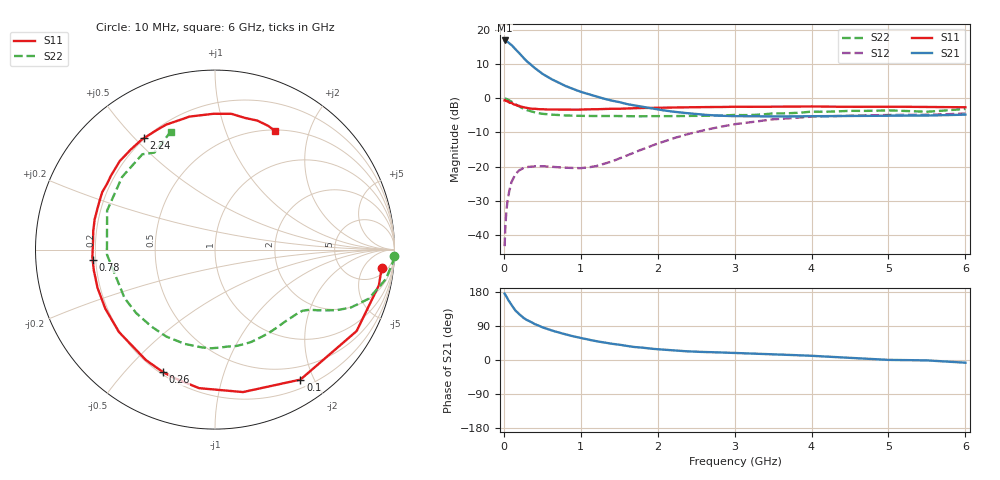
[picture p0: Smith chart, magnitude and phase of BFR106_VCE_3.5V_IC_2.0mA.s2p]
! Infineon Technologies  Discrete & RF Semiconductors
! BFR106
! VCE =  3.5 V,  IC =  2.0 mA
! Common Emitter S-Parameters:  Nov 2015
# GHz  S  MA  R  50
!  f  S11  S21  S12  S22
! GHz  MAG  ANG  MAG  ANG  MAG  ANG  MAG  ANG
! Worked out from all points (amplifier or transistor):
!   210 points, 10 MHz to 6 GHz, reference 50 ohm
!   highest |S21| = 17.0 dB at 10 MHz (marker M1)
!   |S21| within 3 dB of that: start of sweep to 169.7 MHz
!   unconditionally stable (mu >= 1): 781.5 MHz to 1.956 GHz; 3.644 GHz to end of sweep
!   at 185 MHz: K = 0.24, MSG = 17.5 dB, |S12| = -21.5 dB
!   at 1.52 GHz: K = 1.22, MAG = 5.3 dB, |S12| = -17.5 dB
!   at 6 GHz: K = 1.02, MAG = -1.1 dB, |S12| = -4.4 dB
!   S11 on the Smith chart (normalised r, x): 10 MHz: 8, -13; 100 MHz: 0.31, -1.81; 260 MHz: 0.21, -0.64; 780 MHz: 0.19, -0.04; 2.24 GHz: 0.20, +0.53; 6 GHz: 0.51, +1.50
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0.01  0.9347 -6.3  7.077 175.3  0.0068 87.5  0.999 -2.1
0.025  0.9244 -15.1  6.968 170.4  0.0166 80.1  0.9882 -5.0
0.05  0.9103 -29.9  6.75 160.5  0.0328 73.2  0.966 -9.8
0.1  0.8667 -56.7  6.088 144.9  0.0594 60.6  0.8991 -17.7
0.15  0.8089 -78.9  5.294 130.6  0.0772 49.0  0.8233 -23.1
0.2  0.777 -96.6  4.617 120.7  0.0879 41.8  0.7604 -26.3
0.26  0.7412 -113.1  3.892 110.7  0.0955 34.9  0.7009 -28.9
0.3  0.7259 -122.0  3.497 105.4  0.0984 32.3  0.6727 -30.2
0.4  0.7052 -139.4  2.805 94.9  0.1012 27.3  0.6224 -32.6
0.5  0.6941 -151.7  2.301 86.3  0.1013 25.2  0.5945 -35.0
0.6  0.6883 -161.9  1.964 79.2  0.0999 24.9  0.5806 -37.8
0.78  0.684 -175.3  1.563 68.9  0.0966 28.6  0.564 -43.6
1.02  0.6868 170.2  1.229 57.0  0.0953 39.2  0.5539 -52.4
1.4  0.7052 153.0  0.928 43.0  0.1184 59.1  0.5527 -68.5
2.02  0.7289 129.7  0.682 28.1  0.2214 67.5  0.5492 -98.6
2.24  0.7364 122.4  0.632 24.7  0.2671 65.2  0.5507 -110.1
3.1  0.7531 98.9  0.548 17.9  0.4317 47.0  0.5685 -157.1
3.5  0.7567 90.7  0.543 15.2  0.4936 37.7  0.6027 -177.4
4.1  0.7593 81.9  0.55 10.0  0.5428 24.1  0.6376 156.4
5.1  0.7548 70.8  0.56 0.0  0.5717 7.2  0.6613 126.3
5.5  0.7502 66.6  0.56 -1.0  0.5757 4.1  0.6373 122.0
6  0.7412 63.4  0.578 -7.1  0.5998 -3.8  0.7008 110.7
